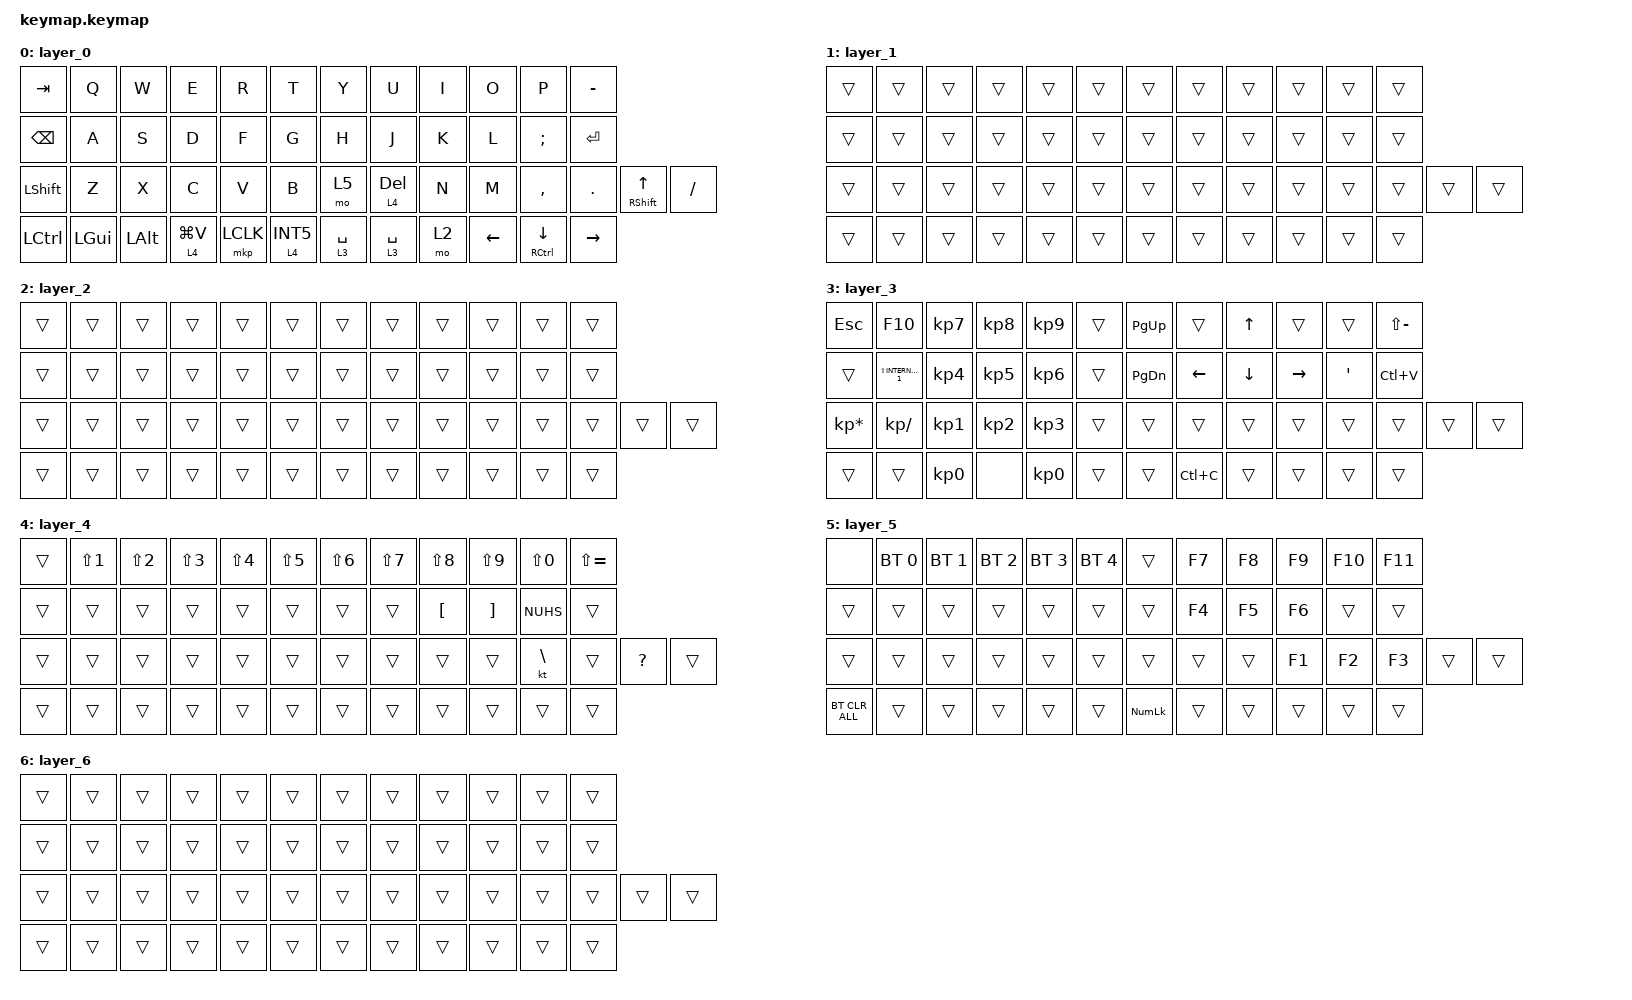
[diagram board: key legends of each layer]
#include <behaviors.dtsi>
#include <dt-bindings/zmk/bt.h>
#include <dt-bindings/zmk/keys.h>
#include <dt-bindings/zmk/pointing.h>

&lt {
    tapping-term-ms = <150>;
    flavor = "balanced";
};

&mt {
    tapping-term-ms = <150>;
    flavor = "balanced";
};

/ {
    combos {
        compatible = "zmk,combos";

        f2 {
            bindings = <&kp F2>;
            key-positions = <16 15>;
        };

        lclk {
            bindings = <&mkp LCLK>;
            key-positions = <19 20>;
        };

        rckl {
            bindings = <&mkp RCLK>;
            key-positions = <20 21>;
        };

        rayer {
            bindings = <&lt 4 INTERNATIONAL_4>;
            key-positions = <19 20 21>;
        };
    };

    keymap {
        compatible = "zmk,keymap";

        layer_0 {
            bindings = <
&kp TAB           &kp Q         &kp W         &kp E        &kp R      &kp T       &kp Y        &kp U         &kp I  &kp O           &kp P                 &kp MINUS
&kp BACKSPACE     &kp A         &kp S         &kp D        &kp F      &kp G       &kp H        &kp J         &kp K  &kp L           &kp SEMI              &kp ENTER
&kp LSHFT         &kp Z         &kp X         &kp C        &kp V      &kp B       &mo 5        &lt 4 DELETE  &kp N  &kp M           &kp COMMA             &kp DOT          &mt RIGHT_SHIFT UP_ARROW  &kp SLASH
&kp LEFT_CONTROL  &kp LEFT_GUI  &kp LEFT_ALT  &lt 4 LG(V)  &mkp LCLK  &lt 4 INT5  &lt 3 SPACE  &lt 3 SPACE   &mo 2  &kp LEFT_ARROW  &mt RCTRL DOWN_ARROW  &kp RIGHT_ARROW
            >;
        };

        layer_1 {
            bindings = <
&trans  &trans  &trans  &trans  &trans  &trans  &trans  &trans  &trans  &trans  &trans  &trans
&trans  &trans  &trans  &trans  &trans  &trans  &trans  &trans  &trans  &trans  &trans  &trans
&trans  &trans  &trans  &trans  &trans  &trans  &trans  &trans  &trans  &trans  &trans  &trans  &trans  &trans
&trans  &trans  &trans  &trans  &trans  &trans  &trans  &trans  &trans  &trans  &trans  &trans
            >;
        };

        layer_2 {
            bindings = <
&trans  &trans  &trans  &trans  &trans  &trans  &trans  &trans  &trans  &trans  &trans  &trans
&trans  &trans  &trans  &trans  &trans  &trans  &trans  &trans  &trans  &trans  &trans  &trans
&trans  &trans  &trans  &trans  &trans  &trans  &trans  &trans  &trans  &trans  &trans  &trans  &trans  &trans
&trans  &trans  &trans  &trans  &trans  &trans  &trans  &trans  &trans  &trans  &trans  &trans
            >;
        };

        layer_3 {
            bindings = <
&kp ESCAPE       &kp F10                  &kp KP_NUMBER_7  &kp KP_NUMBER_8  &kp KP_NUMBER_9  &trans  &kp PG_UP  &trans     &kp UP_ARROW    &trans     &trans    &kp LS(MINUS)
&trans           &kp LS(INTERNATIONAL_1)  &kp KP_NUMBER_4  &kp KP_NUMBER_5  &kp KP_NUMBER_6  &trans  &kp PG_DN  &kp LEFT   &kp DOWN_ARROW  &kp RIGHT  &kp APOS  &kp LC(V)
&kp KP_MULTIPLY  &kp KP_SLASH             &kp KP_NUMBER_1  &kp KP_NUMBER_2  &kp KP_NUMBER_3  &trans  &trans     &trans     &trans          &trans     &trans    &trans         &trans  &trans
&trans           &trans                   &kp KP_NUMBER_0  &none            &kp KP_NUMBER_0  &trans  &trans     &kp LC(C)  &trans          &trans     &trans    &trans
            >;
        };

        layer_4 {
            bindings = <
&trans  &kp LS(N1)  &kp LS(NUMBER_2)  &kp LS(NUMBER_3)  &kp LS(NUMBER_4)  &kp LS(N5)  &kp LS(NUMBER_6)  &kp LS(N7)  &kp LS(N8)        &kp LS(N9)         &kp LS(N0)     &kp LS(EQUAL)
&trans  &trans      &trans            &trans            &trans            &trans      &trans            &trans      &kp LEFT_BRACKET  &kp RIGHT_BRACKET  &kp NUHS       &trans
&trans  &trans      &trans            &trans            &trans            &trans      &trans            &trans      &trans            &trans             &kt BACKSLASH  &trans         &kp QUESTION  &trans
&trans  &trans      &trans            &trans            &trans            &trans      &trans            &trans      &trans            &trans             &trans         &trans
            >;
        };

        layer_5 {
            bindings = <
&none           &bt BT_SEL 0  &bt BT_SEL 1  &bt BT_SEL 2  &bt BT_SEL 3  &bt BT_SEL 4  &trans          &kp F7  &kp F8  &kp F9  &kp F10  &kp F11
&trans          &trans        &trans        &trans        &trans        &trans        &trans          &kp F4  &kp F5  &kp F6  &trans   &trans
&trans          &trans        &trans        &trans        &trans        &trans        &trans          &trans  &trans  &kp F1  &kp F2   &kp F3   &trans  &trans
&bt BT_CLR_ALL  &trans        &trans        &trans        &trans        &trans        &kp KP_NUMLOCK  &trans  &trans  &trans  &trans   &trans
            >;
        };

        layer_6 {
            bindings = <
&trans  &trans  &trans  &trans  &trans  &trans  &trans  &trans  &trans  &trans  &trans  &trans
&trans  &trans  &trans  &trans  &trans  &trans  &trans  &trans  &trans  &trans  &trans  &trans
&trans  &trans  &trans  &trans  &trans  &trans  &trans  &trans  &trans  &trans  &trans  &trans  &trans  &trans
&trans  &trans  &trans  &trans  &trans  &trans  &trans  &trans  &trans  &trans  &trans  &trans
            >;
        };
    };
};
